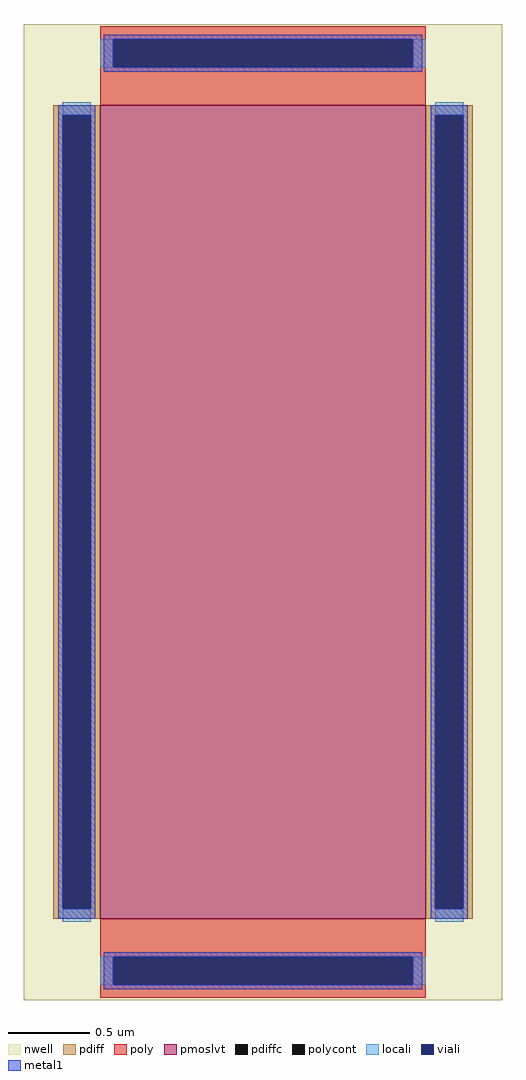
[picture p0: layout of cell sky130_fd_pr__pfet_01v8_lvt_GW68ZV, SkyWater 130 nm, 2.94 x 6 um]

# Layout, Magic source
magic
tech sky130A
magscale 1 2
<< nwell >>
rect -294 -600 294 600
<< pmoslvt >>
rect -200 -500 200 500
<< pdiff >>
rect -258 488 -200 500
rect -258 -488 -246 488
rect -212 -488 -200 488
rect -258 -500 -200 -488
rect 200 488 258 500
rect 200 -488 212 488
rect 246 -488 258 488
rect 200 -500 258 -488
<< pdiffc >>
rect -246 -488 -212 488
rect 212 -488 246 488
<< poly >>
rect -200 581 200 597
rect -200 547 -184 581
rect 184 547 200 581
rect -200 500 200 547
rect -200 -547 200 -500
rect -200 -581 -184 -547
rect 184 -581 200 -547
rect -200 -597 200 -581
<< polycont >>
rect -184 547 184 581
rect -184 -581 184 -547
<< locali >>
rect -200 547 -184 581
rect 184 547 200 581
rect -246 488 -212 504
rect -246 -504 -212 -488
rect 212 488 246 504
rect 212 -504 246 -488
rect -200 -581 -184 -547
rect 184 -581 200 -547
<< viali >>
rect -184 547 184 581
rect -246 -488 -212 488
rect 212 -488 246 488
rect -184 -581 184 -547
<< metal1 >>
rect -196 581 196 587
rect -196 547 -184 581
rect 184 547 196 581
rect -196 541 196 547
rect -252 488 -206 500
rect -252 -488 -246 488
rect -212 -488 -206 488
rect -252 -500 -206 -488
rect 206 488 252 500
rect 206 -488 212 488
rect 246 -488 252 488
rect 206 -500 252 -488
rect -196 -547 196 -541
rect -196 -581 -184 -547
rect 184 -581 196 -547
rect -196 -587 196 -581
<< properties >>
string gencell sky130_fd_pr__pfet_01v8_lvt
string library sky130
string parameters w 5.0 l 2.0 m 1 nf 1 diffcov 100 polycov 100 guard 0 glc 1 grc 1 gtc 1 gbc 1 tbcov 100 rlcov 100 topc 1 botc 1 poverlap 0 doverlap 1 lmin 0.35 wmin 0.42 compatible {sky130_fd_pr__pfet_01v8  sky130_fd_pr__pfet_01v8_lvt sky130_fd_pr__pfet_01v8_hvt  sky130_fd_pr__pfet_g5v0d10v5} full_metal 0 viasrc 100 viadrn 100 viagate 100 viagb 0 viagr 0 viagl 0 viagt 0
<< end >>
